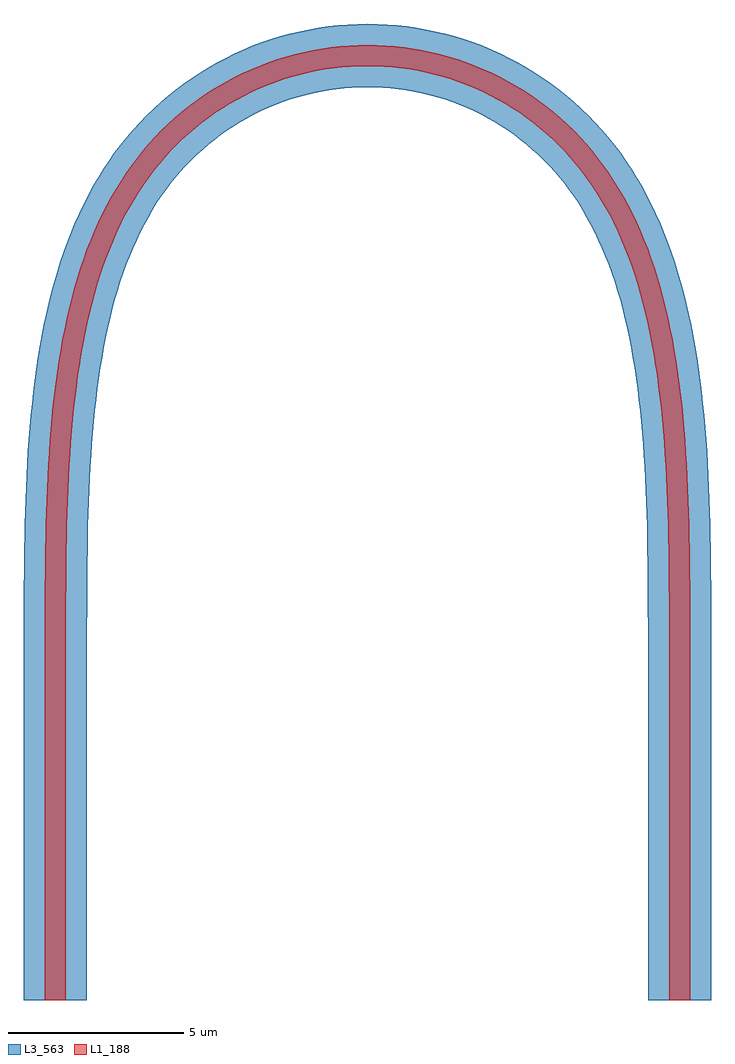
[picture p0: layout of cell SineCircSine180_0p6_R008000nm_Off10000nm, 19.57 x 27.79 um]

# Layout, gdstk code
import gdstk
lib = gdstk.Library(unit=1e-6, precision=1e-09)
L1_188 = (1, 188)
L3_563 = (3, 563)

sinecircsine180_0p6_r008 = lib.new_cell('SineCircSine180_0p6_R008000nm_Off10000nm')
sinecircsine180_0p6_r008.add(gdstk.FlexPath([(-8.886,-18.886),(-8.886,-8.886),(-8.886,-8.53),(-8.886,-8.175),(-8.885,-7.82),(-8.884,-7.466),(-8.882,-7.112),(-8.879,-6.759),(-8.876,-6.408),(-8.871,-6.057),(-8.865,-5.708),(-8.857,-5.361),(-8.847,-5.015),(-8.836,-4.671),(-8.822,-4.329),(-8.806,-3.989),(-8.788,-3.652),(-8.768,-3.317),(-8.744,-2.985),(-8.718,-2.656),(-8.689,-2.33),(-8.656,-2.006),(-8.621,-1.687),(-8.582,-1.37),(-8.539,-1.057),(-8.493,-0.748),(-8.443,-0.443),(-8.389,-0.141),(-8.331,0.156),(-8.268,0.449),(-8.202,0.738),(-8.131,1.022),(-8.055,1.302),(-7.975,1.577),(-7.89,1.848),(-7.801,2.114),(-7.706,2.375),(-7.606,2.63),(-7.502,2.881),(-7.392,3.127),(-7.277,3.368),(-7.157,3.603),(-7.032,3.833),(-6.901,4.057),(-6.765,4.277),(-6.623,4.49),(-6.476,4.699),(-6.323,4.901),(-6.165,5.099),(-6.001,5.29),(-5.832,5.476),(-5.657,5.657),(-5.476,5.832),(-5.29,6.001),(-5.099,6.164),(-4.903,6.321),(-4.702,6.472),(-4.497,6.617),(-4.287,6.755),(-4.072,6.886),(-3.854,7.01),(-3.632,7.128),(-3.406,7.239),(-3.177,7.342),(-2.945,7.438),(-2.71,7.527),(-2.472,7.608),(-2.232,7.682),(-1.99,7.749),(-1.745,7.807),(-1.499,7.858),(-1.251,7.902),(-1.003,7.937),(-0.753,7.964),(-0.502,7.984),(-0.251,7.996),(0,8),(0.251,7.996),(0.502,7.984),(0.753,7.964),(1.003,7.937),(1.251,7.902),(1.499,7.858),(1.745,7.807),(1.99,7.749),(2.232,7.682),(2.472,7.608),(2.71,7.527),(2.945,7.438),(3.177,7.342),(3.406,7.239),(3.632,7.128),(3.854,7.01),(4.072,6.886),(4.287,6.755),(4.497,6.617),(4.702,6.472),(4.903,6.321),(5.099,6.164),(5.29,6.001),(5.476,5.832),(5.657,5.657),(5.832,5.476),(6.001,5.29),(6.165,5.099),(6.323,4.901),(6.476,4.699),(6.623,4.49),(6.765,4.277),(6.901,4.057),(7.032,3.833),(7.157,3.603),(7.277,3.368),(7.392,3.127),(7.502,2.881),(7.606,2.63),(7.706,2.375),(7.801,2.114),(7.89,1.848),(7.975,1.577),(8.055,1.302),(8.131,1.022),(8.202,0.738),(8.268,0.449),(8.331,0.156),(8.389,-0.141),(8.443,-0.443),(8.493,-0.748),(8.539,-1.057),(8.582,-1.37),(8.621,-1.687),(8.656,-2.006),(8.689,-2.33),(8.718,-2.656),(8.744,-2.985),(8.768,-3.317),(8.788,-3.652),(8.806,-3.989),(8.822,-4.329),(8.836,-4.671),(8.847,-5.015),(8.857,-5.361),(8.865,-5.708),(8.871,-6.057),(8.876,-6.408),(8.879,-6.759),(8.882,-7.112),(8.884,-7.466),(8.885,-7.82),(8.886,-8.175),(8.886,-8.53),(8.886,-8.886),(8.886,-18.886)], 0.6, ends="flush", simple_path=True, layer=1, datatype=188))  # L1_188
sinecircsine180_0p6_r008.add(gdstk.FlexPath([(-8.886,-18.886),(-8.886,-8.886),(-8.886,-8.53),(-8.886,-8.175),(-8.885,-7.82),(-8.884,-7.466),(-8.882,-7.112),(-8.879,-6.759),(-8.876,-6.408),(-8.871,-6.057),(-8.865,-5.708),(-8.857,-5.361),(-8.847,-5.015),(-8.836,-4.671),(-8.822,-4.329),(-8.806,-3.989),(-8.788,-3.652),(-8.768,-3.317),(-8.744,-2.985),(-8.718,-2.656),(-8.689,-2.33),(-8.656,-2.006),(-8.621,-1.687),(-8.582,-1.37),(-8.539,-1.057),(-8.493,-0.748),(-8.443,-0.443),(-8.389,-0.141),(-8.331,0.156),(-8.268,0.449),(-8.202,0.738),(-8.131,1.022),(-8.055,1.302),(-7.975,1.577),(-7.89,1.848),(-7.801,2.114),(-7.706,2.375),(-7.606,2.63),(-7.502,2.881),(-7.392,3.127),(-7.277,3.368),(-7.157,3.603),(-7.032,3.833),(-6.901,4.057),(-6.765,4.277),(-6.623,4.49),(-6.476,4.699),(-6.323,4.901),(-6.165,5.099),(-6.001,5.29),(-5.832,5.476),(-5.657,5.657),(-5.476,5.832),(-5.29,6.001),(-5.099,6.164),(-4.903,6.321),(-4.702,6.472),(-4.497,6.617),(-4.287,6.755),(-4.072,6.886),(-3.854,7.01),(-3.632,7.128),(-3.406,7.239),(-3.177,7.342),(-2.945,7.438),(-2.71,7.527),(-2.472,7.608),(-2.232,7.682),(-1.99,7.749),(-1.745,7.807),(-1.499,7.858),(-1.251,7.902),(-1.003,7.937),(-0.753,7.964),(-0.502,7.984),(-0.251,7.996),(0,8),(0.251,7.996),(0.502,7.984),(0.753,7.964),(1.003,7.937),(1.251,7.902),(1.499,7.858),(1.745,7.807),(1.99,7.749),(2.232,7.682),(2.472,7.608),(2.71,7.527),(2.945,7.438),(3.177,7.342),(3.406,7.239),(3.632,7.128),(3.854,7.01),(4.072,6.886),(4.287,6.755),(4.497,6.617),(4.702,6.472),(4.903,6.321),(5.099,6.164),(5.29,6.001),(5.476,5.832),(5.657,5.657),(5.832,5.476),(6.001,5.29),(6.165,5.099),(6.323,4.901),(6.476,4.699),(6.623,4.49),(6.765,4.277),(6.901,4.057),(7.032,3.833),(7.157,3.603),(7.277,3.368),(7.392,3.127),(7.502,2.881),(7.606,2.63),(7.706,2.375),(7.801,2.114),(7.89,1.848),(7.975,1.577),(8.055,1.302),(8.131,1.022),(8.202,0.738),(8.268,0.449),(8.331,0.156),(8.389,-0.141),(8.443,-0.443),(8.493,-0.748),(8.539,-1.057),(8.582,-1.37),(8.621,-1.687),(8.656,-2.006),(8.689,-2.33),(8.718,-2.656),(8.744,-2.985),(8.768,-3.317),(8.788,-3.652),(8.806,-3.989),(8.822,-4.329),(8.836,-4.671),(8.847,-5.015),(8.857,-5.361),(8.865,-5.708),(8.871,-6.057),(8.876,-6.408),(8.879,-6.759),(8.882,-7.112),(8.884,-7.466),(8.885,-7.82),(8.886,-8.175),(8.886,-8.53),(8.886,-8.886),(8.886,-18.886)], 1.8, ends="flush", simple_path=True, layer=3, datatype=563))  # L3_563

lib.write_gds('SineCircSine180_0p6_R008000nm_Off10000nm.gds')
